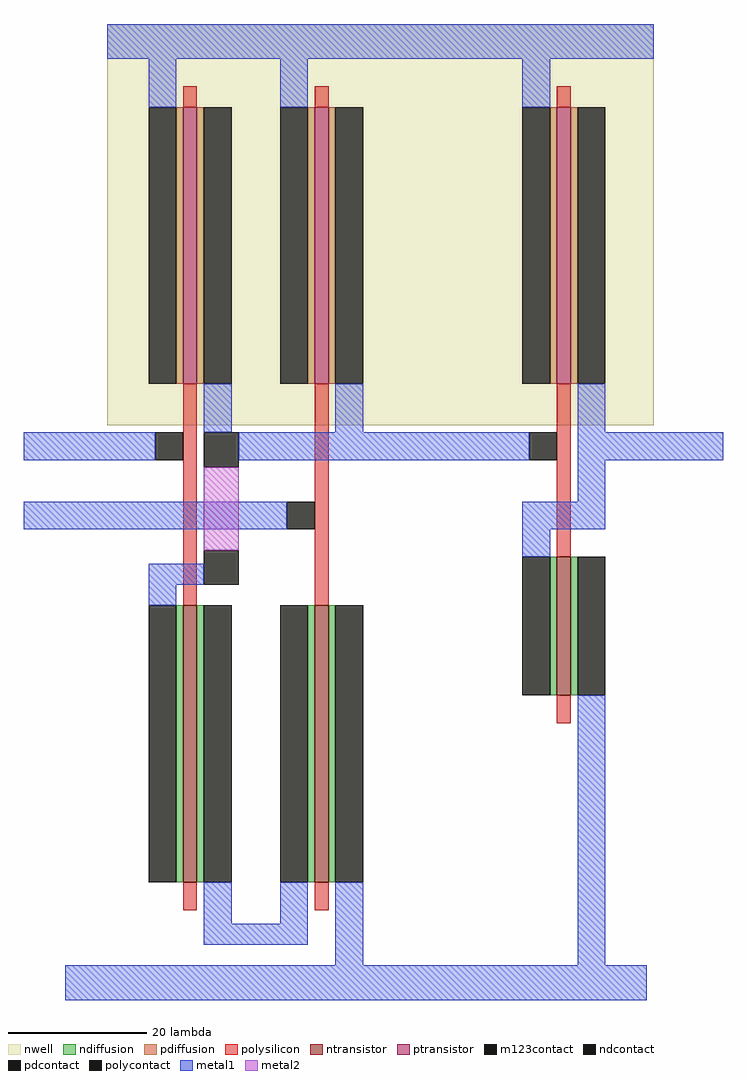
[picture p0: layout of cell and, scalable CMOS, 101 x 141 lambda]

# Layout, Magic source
magic
tech scmos
<< nwell >>
rect -11 -25 68 33
<< ntransistor >>
rect 0 -91 2 -51
rect 19 -91 21 -51
rect 54 -64 56 -44
<< ptransistor >>
rect 0 -19 2 21
rect 19 -19 21 21
rect 54 -19 56 21
<< ndiffusion >>
rect -1 -91 0 -51
rect 2 -91 3 -51
rect 18 -91 19 -51
rect 21 -91 22 -51
rect 53 -64 54 -44
rect 56 -64 57 -44
<< pdiffusion >>
rect -1 -19 0 21
rect 2 -19 3 21
rect 18 -19 19 21
rect 21 -19 22 21
rect 53 -19 54 21
rect 56 -19 57 21
<< ndcontact >>
rect -5 -91 -1 -51
rect 3 -91 7 -51
rect 14 -91 18 -51
rect 22 -91 26 -51
rect 49 -64 53 -44
rect 57 -64 61 -44
<< pdcontact >>
rect -5 -19 -1 21
rect 3 -19 7 21
rect 14 -19 18 21
rect 22 -19 26 21
rect 49 -19 53 21
rect 57 -19 61 21
<< polysilicon >>
rect 0 21 2 24
rect 19 21 21 24
rect 54 21 56 24
rect 0 -51 2 -19
rect 19 -51 21 -19
rect 54 -44 56 -19
rect 54 -68 56 -64
rect 0 -95 2 -91
rect 19 -95 21 -91
<< polycontact >>
rect -4 -30 0 -26
rect 15 -40 19 -36
rect 50 -30 54 -26
<< metal1 >>
rect -11 28 68 33
rect -5 21 -1 28
rect 14 21 18 28
rect 49 21 53 28
rect 3 -26 7 -19
rect 22 -26 26 -19
rect 57 -26 61 -19
rect -23 -30 -4 -26
rect 8 -30 50 -26
rect 57 -30 78 -26
rect 57 -36 61 -30
rect -23 -40 15 -36
rect 49 -40 61 -36
rect -5 -48 3 -45
rect 49 -44 53 -40
rect -5 -51 -1 -48
rect 3 -97 7 -91
rect 14 -97 18 -91
rect 3 -100 18 -97
rect 22 -103 26 -91
rect 57 -103 61 -64
rect -17 -108 67 -103
<< metal2 >>
rect 3 -43 8 -31
<< m123contact >>
rect 3 -31 8 -26
rect 3 -48 8 -43
<< end >>
